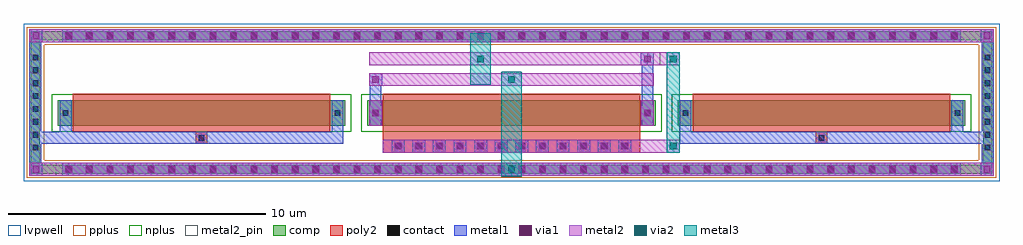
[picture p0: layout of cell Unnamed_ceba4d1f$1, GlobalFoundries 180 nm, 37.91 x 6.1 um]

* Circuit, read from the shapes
.subckt Unnamed_ceba4d1f$1 VSS
XM1 VSS VSS VSS VSS nfet_03v3 w=1u l=10u m=2
XM2 Unnamed_03f4a158_0/VOUT Unnamed_03f4a158_0/VOUT VSS VSS nfet_03v3 w=1u l=10u
.ends

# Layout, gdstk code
import gdstk
lib = gdstk.Library(unit=1e-6, precision=5e-09)
def R(c, l, rs):  # rectangles x0, y0, x1, y1
    for r in rs: c.add(gdstk.rectangle(r[:2], r[2:], *l))
def A(c, l, x, y, w, h, nx, ny, dx, dy):  # array of equal rectangles
    R(c, l, [(x+i*dx, y+j*dy, x+i*dx+w, y+j*dy+h) for i in range(nx) for j in range(ny)])
def P(c, l, *ps):  # polygons
    for p in ps: c.add(gdstk.Polygon(p, *l))
comp = (22, 0)
poly2 = (30, 0)
pplus = (31, 0)
nplus = (32, 0)
contact = (33, 0)
metal1 = (34, 0)
via1 = (35, 0)
metal2 = (36, 0)
metal2_pin = (36, 10)
via2 = (38, 0)
metal3 = (42, 0)
lvpwell = (204, 0)

compass_df8d0505_5 = lib.new_cell('compass_df8d0505$5')
R(compass_df8d0505_5, metal2_pin, [(-0.25,-0.25,0.25,0.25)])

unnamed_03f4a158 = lib.new_cell('Unnamed_03f4a158')
unnamed_03f4a158.add(gdstk.Reference(compass_df8d0505_5, (0,0)))
unnamed_03f4a158.add(gdstk.Label('VOUT', (0,0), layer=36, texttype=10))

compass_df8d0505_6 = lib.new_cell('compass_df8d0505$6')
R(compass_df8d0505_6, metal2_pin, [(-0.25,-0.25,0.25,0.25)])

unnamed_e4126766 = lib.new_cell('Unnamed_e4126766')
unnamed_e4126766.add(gdstk.Reference(compass_df8d0505_6, (0,0)))
unnamed_e4126766.add(gdstk.Label('VSS', (0,0), layer=36, texttype=10))

unnamed_ceba4d1f_1 = lib.new_cell('Unnamed_ceba4d1f$1')
A(unnamed_ceba4d1f_1, comp, -17.38, -2.77, 0.36, 0.36, 44, 2, 0.8, 5.18)
A(unnamed_ceba4d1f_1, comp, -18.675, -1.93, 0.36, 0.36, 1, 8, 0, 0.5)
A(unnamed_ceba4d1f_1, comp, 18.315, -1.93, 0.36, 0.36, 1, 8, 0, 0.5)
R(unnamed_ceba4d1f_1, comp, [(-17.38,-2.77,17.38,-2.41), (-18.675,-1.93,-18.315,1.93), (18.315,-1.93,18.675,1.93), (-17.62,-0.905,-6.46,0.095), (-5.6,-0.905,5.6,0.095), (6.46,-0.905,17.62,0.095), (-17.38,2.41,17.38,2.77)])
P(unnamed_ceba4d1f_1, comp, [(18.675,2.77),(-18.675,2.77),(-18.675,-2.41),(-18.315,-2.41),(-18.315,2.41),(18.315,2.41),(18.315,-2.41),(-18.315,-2.41),(-18.675,-2.41),(-18.675,-2.77),(18.675,-2.77)])
A(unnamed_ceba4d1f_1, poly2, -4.58, -1.875, 0.36, 0.36, 12, 1, 0.8, 0)
A(unnamed_ceba4d1f_1, poly2, -17.04, -1.145, 10, 1.48, 3, 1, 12.04, 0)
R(unnamed_ceba4d1f_1, poly2, [(-5,-1.945,5,-1.445), (-12.27,-1.605,-11.81,-1.145), (11.81,-1.605,12.27,-1.145), (-12.22,-1.555,-11.86,-1.195), (11.86,-1.555,12.22,-1.195), (-5,-1.445,5,-1.145)])
P(unnamed_ceba4d1f_1, pplus, [(18.835,2.93),(-18.835,2.93),(-18.835,-2.25),(-18.155,-2.25),(-18.155,2.25),(18.155,2.25),(18.155,-2.25),(-18.155,-2.25),(-18.835,-2.25),(-18.835,-2.93),(18.835,-2.93)])
R(unnamed_ceba4d1f_1, nplus, [(-17.85,-1.135,-6.23,0.325), (-5.83,-1.135,5.83,0.325), (6.23,-1.135,17.85,0.325)])
A(unnamed_ceba4d1f_1, contact, -17.31, -2.7, 0.22, 0.22, 44, 2, 0.8, 5.18)
A(unnamed_ceba4d1f_1, contact, -18.605, -1.86, 0.22, 0.22, 1, 8, 0, 0.5)
A(unnamed_ceba4d1f_1, contact, 18.385, -1.86, 0.22, 0.22, 1, 8, 0, 0.5)
A(unnamed_ceba4d1f_1, contact, -4.51, -1.805, 0.22, 0.22, 12, 1, 0.8, 0)
R(unnamed_ceba4d1f_1, contact, [(-12.15,-1.485,-11.93,-1.265), (11.93,-1.485,12.15,-1.265), (-17.43,-0.515,-17.21,-0.295), (-6.87,-0.515,-6.65,-0.295), (-5.39,-0.515,-5.17,-0.295), (5.17,-0.515,5.39,-0.295), (6.65,-0.515,6.87,-0.295), (17.21,-0.515,17.43,-0.295)])
A(unnamed_ceba4d1f_1, metal1, -17.45, -2.84, 0.5, 0.5, 44, 2, 0.8, 5.18)
A(unnamed_ceba4d1f_1, metal1, -18.725, -1.98, 0.46, 0.46, 1, 8, 0, 0.5)
A(unnamed_ceba4d1f_1, metal1, 18.265, -1.98, 0.46, 0.46, 1, 8, 0, 0.5)
A(unnamed_ceba4d1f_1, metal1, -4.65, -1.945, 0.5, 0.5, 12, 1, 0.8, 0)
R(unnamed_ceba4d1f_1, metal1, [(-18.725,-2.84,-18.225,-2.34), (-18.725,-2.84,-18.225,-2.34), (-18.725,-2.84,-18.265,-2.41), (-17.45,-2.84,17.45,-2.34), (18.225,-2.84,18.725,-2.34), (18.225,-2.84,18.725,-2.34), (18.265,-2.84,18.725,-2.41), (-18.725,-2.41,-18.265,2.41), (18.265,-2.41,18.725,2.41), (-18.725,-1.605,-12.27,-1.145), (-17.55,-1.605,-12.27,-1.145), (-17.55,-1.605,-17.09,-0.905), (-12.27,-1.605,-11.81,-1.145), (-11.81,-1.605,-6.53,-1.145), (-6.99,-1.605,-6.53,-0.905), (6.53,-1.605,11.81,-1.145), (6.53,-1.605,6.99,-0.905), (11.81,-1.605,12.27,-1.145), (11.81,-1.605,18.725,-1.145), (12.27,-1.605,17.55,-1.145), (17.09,-1.605,17.55,-0.905), (-17.55,-0.905,-17.09,0.095), (-6.99,-0.905,-6.53,0.095), (-5.51,-0.905,-5.05,0.095), (5.05,-0.905,5.51,0.095), (6.53,-0.905,6.99,0.095), (17.09,-0.905,17.55,0.095), (-5.53,-0.655,-5.03,-0.155), (-5.53,-0.655,-5.03,-0.155), (5.03,-0.655,5.53,-0.155), (5.03,-0.655,5.53,-0.155), (-17.55,-0.635,-17.09,-0.175), (-6.99,-0.635,-6.53,-0.175), (-5.51,-0.635,-5.05,-0.175), (5.05,-0.635,5.51,-0.175), (6.53,-0.635,6.99,-0.175), (17.09,-0.635,17.55,-0.175), (-5.51,0.095,-5.05,1.145), (5.05,0.095,5.51,1.945), (-5.53,0.645,-5.03,1.145), (5.03,1.445,5.53,1.945), (-18.725,2.34,-18.225,2.84), (-18.725,2.34,-18.225,2.84), (-17.45,2.34,17.45,2.84), (18.225,2.34,18.725,2.84), (18.225,2.34,18.725,2.84), (-18.725,2.41,-18.265,2.84), (18.265,2.41,18.725,2.84)])
A(unnamed_ceba4d1f_1, via1, -17.33, -2.72, 0.26, 0.26, 44, 2, 0.8, 5.18)
A(unnamed_ceba4d1f_1, via1, -4.53, -1.825, 0.26, 0.26, 12, 1, 0.8, 0)
R(unnamed_ceba4d1f_1, via1, [(-18.605,-2.72,-18.345,-2.46), (18.345,-2.72,18.605,-2.46), (-5.41,-0.535,-5.15,-0.275), (5.15,-0.535,5.41,-0.275), (-5.41,0.765,-5.15,1.025), (5.15,1.565,5.41,1.825), (-18.605,2.46,-18.345,2.72), (18.345,2.46,18.605,2.72)])
A(unnamed_ceba4d1f_1, metal2, -17.45, -2.84, 0.5, 0.5, 22, 1, 0.8, 0)
A(unnamed_ceba4d1f_1, metal2, 0.15, -2.84, 0.5, 0.5, 22, 1, 0.8, 0)
A(unnamed_ceba4d1f_1, metal2, -4.65, -1.945, 0.5, 0.5, 12, 1, 0.8, 0)
A(unnamed_ceba4d1f_1, metal2, -17.45, 2.34, 0.5, 0.5, 44, 1, 0.8, 0)
R(unnamed_ceba4d1f_1, metal2, [(-18.725,-2.84,-18.225,-2.34), (-18.725,-2.84,-18.225,-2.34), (-18.725,-2.84,-18.315,-2.34), (-18.315,-2.84,18.315,-2.34), (-0.25,-2.84,0.25,-2.34), (18.225,-2.84,18.725,-2.34), (18.225,-2.84,18.725,-2.34), (18.315,-2.84,18.725,-2.34), (-5,-1.945,5,-1.445), (5,-1.945,6.53,-1.445), (6.03,-1.945,6.53,-1.445), (-5.53,-0.905,-5.03,0.095), (5.03,-0.905,5.53,0.095), (-5.53,-0.655,-5.03,-0.155), (5.03,-0.655,5.53,-0.155), (-5.53,0.645,-5.03,1.145), (-5.53,0.645,5.53,1.145), (-0.25,0.645,0.25,1.145), (-5.53,1.445,5.53,1.945), (-1.45,1.445,-0.95,1.945), (5.03,1.445,5.53,1.945), (5.53,1.445,6.53,1.945), (6.03,1.445,6.53,1.945), (-18.725,2.34,-18.225,2.84), (-18.725,2.34,-18.225,2.84), (-18.725,2.34,-18.315,2.84), (-18.315,2.34,18.315,2.84), (18.225,2.34,18.725,2.84), (18.225,2.34,18.725,2.84), (18.315,2.34,18.725,2.84)])
R(unnamed_ceba4d1f_1, via2, [(-0.13,-2.72,0.13,-2.46), (6.15,-1.825,6.41,-1.565), (-0.13,0.765,0.13,1.025), (-1.33,1.565,-1.07,1.825), (6.15,1.565,6.41,1.825)])
R(unnamed_ceba4d1f_1, metal3, [(-0.4,-2.89,0.4,1.195), (-0.25,-2.84,0.25,-2.34), (6.03,-1.945,6.53,-1.445), (6.03,-1.945,6.53,-1.445), (6.03,-1.945,6.53,1.945), (-0.25,0.645,0.25,1.145), (-1.6,0.695,-0.8,2.695), (-1.45,1.445,-0.95,1.945), (6.03,1.445,6.53,1.945), (6.03,1.445,6.53,1.945)])
P(unnamed_ceba4d1f_1, metal3, [(6.53,-1.945),(6.53,-1.945),(6.53,-1.445),(6.53,-1.445)],
  [(6.53,1.445),(6.53,1.445),(6.53,1.945),(6.53,1.945)])
R(unnamed_ceba4d1f_1, lvpwell, [(-18.955,-3.05,18.955,3.05)])
unnamed_ceba4d1f_1.add(gdstk.Reference(unnamed_03f4a158, (5.53,1.695)))
unnamed_ceba4d1f_1.add(gdstk.Reference(unnamed_e4126766, (-17.45,-2.59)))

lib.write_gds('Unnamed_ceba4d1f_1.gds')
